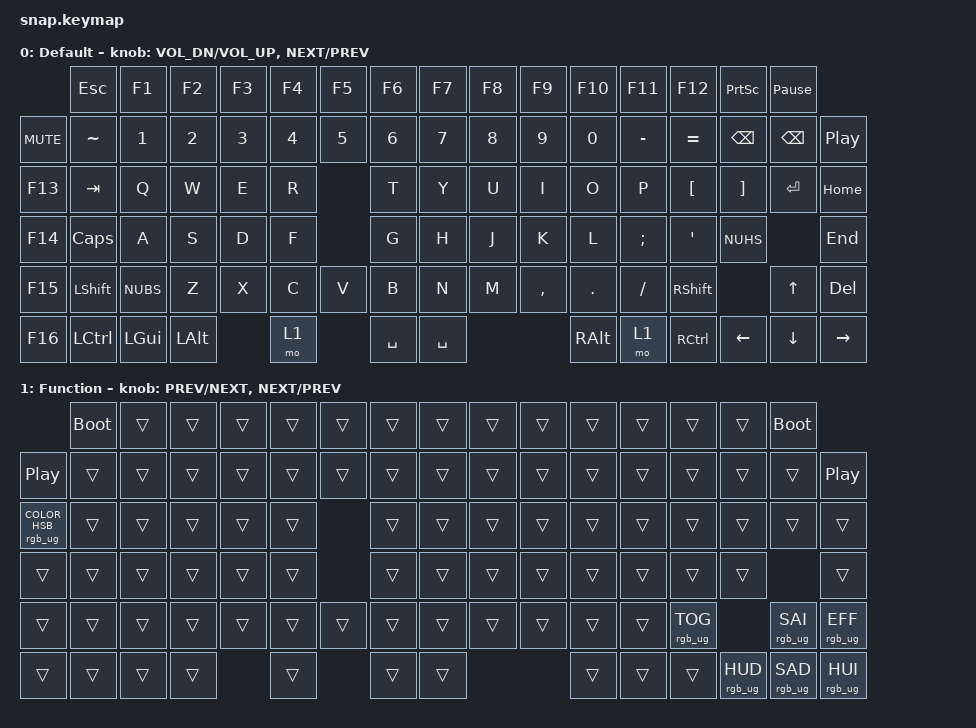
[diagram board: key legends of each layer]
/*
 * Copyright (c) 2022 The ZMK Contributors
 *
 * SPDX-License-Identifier: MIT
 */

#include <behaviors.dtsi>
#include <dt-bindings/zmk/keys.h>
#include <dt-bindings/zmk/rgb.h>
#include <dt-bindings/zmk/rgb.h>

/ {
	sensors {
		compatible = "zmk,keymap-sensors";
		sensors = <&left_encoder &right_encoder>;
	};

	keymap {
		compatible = "zmk,keymap";

		default_layer {
			label = "Default";
			sensor-bindings = <&inc_dec_kp C_VOL_DN C_VOL_UP &inc_dec_kp C_NEXT C_PREV>;
			bindings = <
             &kp ESC     &kp F1   &kp F2   &kp F3   &kp F4   &kp F5   &kp F6     &kp F7   &kp F8   &kp F9    &kp F10  &kp F11     &kp F12     &kp PSCRN    &kp PAUSE_BREAK
&kp C_MUTE   &kp TILDE   &kp N1   &kp N2   &kp N3   &kp N4   &kp N5   &kp N6     &kp N7   &kp N8   &kp N9    &kp N0   &kp MINUS   &kp EQUAL   &kp BSPC     &kp BSPC   &kp C_PP
&kp F13      &kp TAB     &kp Q    &kp W    &kp E    &kp R             &kp T      &kp Y    &kp U    &kp I     &kp O    &kp P       &kp LBKT    &kp RBKT     &kp RET    &kp HOME
&kp F14      &kp CLCK    &kp A    &kp S    &kp D    &kp F             &kp G      &kp H    &kp J    &kp K     &kp L    &kp SEMI    &kp SQT     &kp NUHS                &kp END
&kp F15      &kp LSHFT   &kp NUBS &kp Z    &kp X    &kp C    &kp V    &kp B      &kp N    &kp M    &kp COMMA &kp DOT  &kp FSLH    &kp RSHFT                &kp UP     &kp DEL
&kp F16      &kp LCTRL   &kp LGUI &kp LALT          &mo 1            &kp SPACE    &kp SPACE                  &kp RALT &mo 1       &kp RCTRL   &kp LEFT     &kp DOWN   &kp RIGHT
			>;
		};

		function_layer {
			label = "Function";
			sensor-bindings = <&inc_dec_kp C_PREV C_NEXT &inc_dec_kp C_NEXT C_PREV>;
			bindings = <
             &bootloader &trans   &trans   &trans   &trans   &trans   &trans     &trans   &trans   &trans   &trans    &trans      &trans      &trans       &bootloader
&kp C_PP     &trans      &trans   &trans   &trans   &trans   &trans   &trans     &trans   &trans   &trans   &trans    &trans      &trans      &trans       &trans     &kp C_PP
&rgb_ug RGB_COLOR_HSB(255,0,100)       &trans      &trans   &trans   &trans   &trans            &trans     &trans   &trans   &trans   &trans    &trans      &trans      &trans       &trans     &trans 
&trans       &trans      &trans   &trans   &trans   &trans            &trans     &trans   &trans   &trans   &trans    &trans      &trans                   &trans     &trans
&trans       &trans      &trans   &trans   &trans   &trans   &trans   &trans     &trans   &trans   &trans   &trans    &trans          &rgb_ug RGB_TOG &rgb_ug RGB_SAI &rgb_ug RGB_EFF
&trans       &trans      &trans   &trans            &trans           &trans       &trans                    &trans    &trans  &trans  &rgb_ug RGB_HUD &rgb_ug RGB_SAD &rgb_ug RGB_HUI
			>;
		};
	};
};
